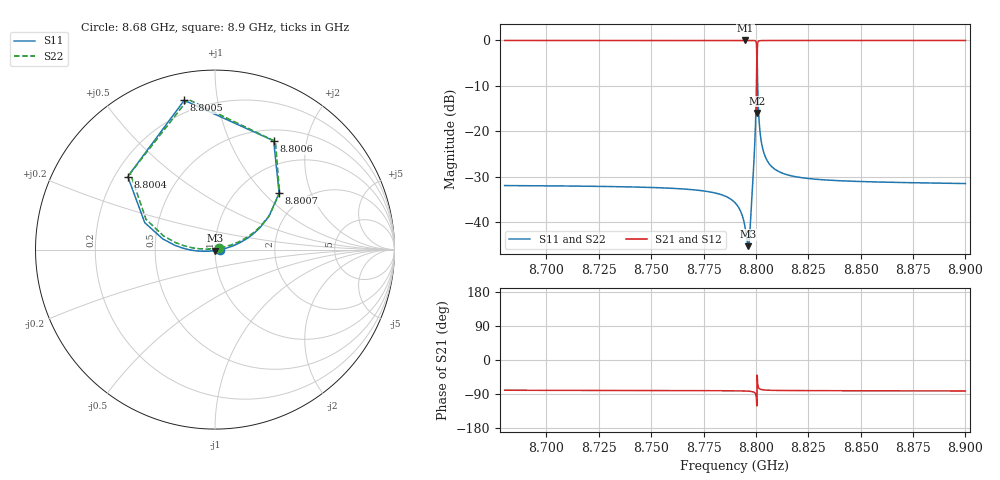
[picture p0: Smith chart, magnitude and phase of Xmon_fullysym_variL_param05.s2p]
! Sonnet Data File
! From: emgraph Version : 16.52
! From Project: 171117_Xmon_fullysym
! Data is De-embedded
! Data File Written: 11/26/2017 17:14:23
!< HDATE 11/22/2017 16:48:52
!< MDATE 11/23/2017 10:16:42
!< PARAMS
!< Lj = 11.0
!< Gap = 1.0
!< Pwid = 2000.0
!< Airgap = 6.0
!< Width = 10.0
!< Lj1 = 10.2
!< END PARAMS
# GHZ S MA R 50.90000
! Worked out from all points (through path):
!   2201 points, 8.68 GHz to 8.9 GHz, reference 50.9 ohm
!   highest |S21| = 0.00 dB at 8.7949 GHz (marker M1); lowest = -16.0 dB at 8.8005 GHz (marker M2)
!   lowest |S11| = -45.3 dB at 8.7964 GHz (marker M3), VSWR 1.01, Z = 50.9 - j0.549 ohm
!   |S11| at or under -10 dB: start of sweep to 8.8002 GHz; 8.8008 GHz to end of sweep
!   |S22| runs from -45.0 to -1.4 dB; largest |S21 - S12| = 2.5e-10
!   S11 on the Smith chart (normalised r, x): 8.68 GHz: 1.05, -0.00; 8.8004 GHz: 0.25, +0.34; 8.8005 GHz: 0.14, +0.81; 8.8006 GHz: 0.64, +1.48; 8.8007 GHz: 1.51, +1.23; 8.9 GHz: 1.05, -0.00
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8.68  0.02519 -1.5  0.9997 -79.8  0.9997 -79.8  0.02519 21.9
!< P1 F=8.68 Eeff=(6.44843488 -2.9797e-5) Z0=(50.9086135 1.17022e-4) R=0.0 C=0.0
!< P2 F=8.68 Eeff=(6.44843488 -2.9797e-5) Z0=(50.9086135 1.17022e-4) R=0.0 C=0.0
8.7167  0.02481 -2.1  0.9997 -80.1  0.9997 -80.1  0.02481 21.8
8.7534  0.02384 -3.1  0.9997 -80.5  0.9997 -80.5  0.02384 22.0
8.779  0.02123 -5.2  0.9998 -80.9  0.9998 -80.9  0.02123 23.4
8.79  0.01631 -10.3  0.9998 -81.3  0.9998 -81.3  0.01632 27.8
8.7929  0.01276 -16.3  0.9999 -81.6  0.9999 -81.6  0.01279 33.5
8.7949  0.008536 -30.9  0.9999 -81.9  0.9999 -81.9  0.008619 47.8
8.7964  0.005411 -84.9  0.9999 -82.3  0.9999 -82.3  0.005646 100.2
8.7978  0.01458 -151.2  0.9996 -83.1  0.9996 -83.1  0.01478 163.2
8.7989  0.0405 -167.1  0.9984 -84.6  0.9984 -84.6  0.04071 175.8
8.7997  0.1045 -176.2  0.9916 -88.3  0.9916 -88.3  0.1048 176.4
8.8004  0.6339 140.1  0.6705 -121.0  0.6705 -121.0  0.6352 138.0
8.8005  0.849 101.7  0.1589 -99.9  0.1589 -99.9  0.8507 100.2
8.8006  0.6888 61.7  0.6052 -39.7  0.6052 -39.7  0.69 60.8
8.8007  0.4765 41.4  0.8368 -54.0  0.8368 -54.0  0.4773 41.1
8.8013  0.156 16.5  0.9847 -73.3  0.9847 -73.3  0.1562 19.1
8.8017  0.113 12.8  0.9922 -75.8  0.9922 -75.8  0.1131 16.9
8.8029  0.06948 8.1  0.9972 -78.4  0.9972 -78.4  0.06953 15.8
8.8061  0.04452 3.8  0.9989 -79.8  0.9989 -79.8  0.04454 16.7
8.8267  0.02984 -0.9  0.9995 -80.9  0.9995 -80.9  0.02984 19.1
8.8634  0.02739 -2.4  0.9996 -81.3  0.9996 -81.3  0.02739 19.7
8.9  0.0265 -3.2  0.9996 -81.7  0.9996 -81.7  0.0265 19.8
